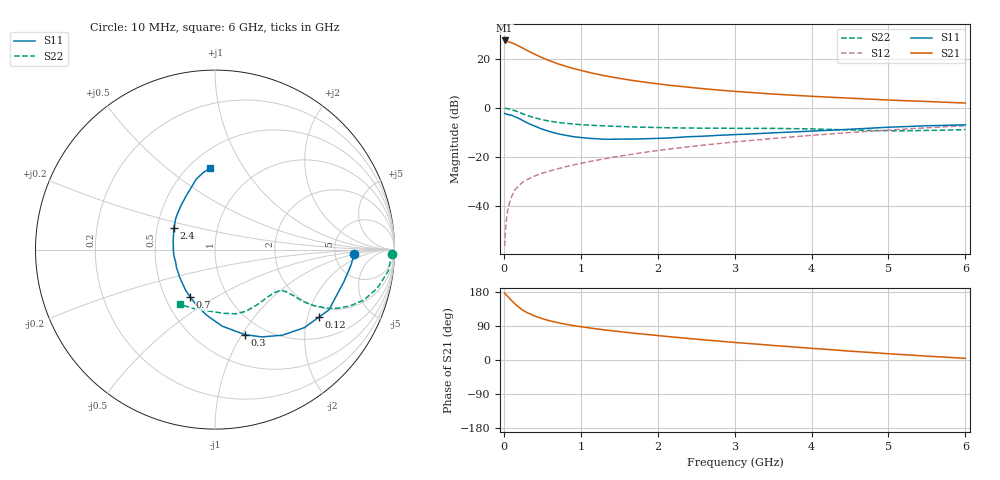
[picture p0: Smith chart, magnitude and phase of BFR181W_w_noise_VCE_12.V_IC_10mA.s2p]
! Infineon Technologies  Discrete & RF Semiconductors
! BFR181W
! VCE =  12. V,  IC =  10 mA
! Common Emitter S-Parameters:  Jan 2017
# GHz  S  MA  R  50
!  f  S11  S21  S12  S22
! GHz  MAG  ANG  MAG  ANG  MAG  ANG  MAG  ANG
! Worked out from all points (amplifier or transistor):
!   77 points, 10 MHz to 6 GHz, reference 50 ohm
!   highest |S21| = 27.6 dB at 10 MHz (marker M1)
!   |S21| within 3 dB of that: start of sweep to 238.4 MHz
!   unconditionally stable (mu >= 1): 1.121 GHz to 3.051 GHz
!   at 130 MHz: K = 0.27, MSG = 30.3 dB, |S12| = -34.3 dB
!   at 2.2 GHz: K = 1.05, MAG = 11.5 dB, |S12| = -16.6 dB
!   at 6 GHz: K = 0.86, MSG = 4.6 dB, |S12| = -7.2 dB
!   lowest NFmin = 1.24 dB at 450 MHz
!   S11 on the Smith chart (normalised r, x): 10 MHz: 7.87, -0.92; 120 MHz: 1.64, -2.36; 300 MHz: 0.81, -1.03; 700 MHz: 0.67, -0.39; 2.4 GHz: 0.61, +0.16; 6 GHz: 0.63, +0.72
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0.01  0.7773 -1.7  24.08 176.7  0.0015 66.3  0.9882 -1.3
0.02  0.7617 -6.8  23.56 174.0  0.0029 81.0  0.9817 -2.5
0.04  0.7458 -11.6  23.13 170.0  0.0063 76.9  0.975 -5.6
0.1  0.7178 -28.0  21.68 156.8  0.0153 74.5  0.9286 -13.5
0.12  0.6908 -33.0  20.98 153.1  0.0179 72.9  0.906 -15.5
0.15  0.661 -41.1  20.11 147.1  0.0218 71.2  0.8745 -18.8
0.2  0.6074 -51.7  18.32 138.4  0.0262 67.7  0.8144 -22.7
0.25  0.5526 -61.7  16.68 131.2  0.0309 64.4  0.759 -25.5
0.3  0.5027 -70.5  15.1 125.2  0.0343 63.0  0.7082 -27.5
0.4  0.4287 -84.6  12.6 115.9  0.0407 62.0  0.631 -29.6
0.5  0.3695 -97.0  10.65 109.0  0.0466 62.0  0.5756 -30.4
0.6  0.3294 -107.6  9.206 103.3  0.052 61.3  0.5374 -30.5
0.7  0.2989 -117.4  8.066 98.7  0.0571 62.6  0.5085 -30.4
0.9  0.2601 -134.6  6.457 91.0  0.0685 63.9  0.4715 -30.6
1.1  0.2409 -149.0  5.391 85.1  0.0798 65.3  0.4482 -31.0
1.5  0.2315 -172.9  4.05 75.0  0.1033 66.6  0.4201 -33.5
2.1  0.2431 162.3  2.995 62.6  0.1417 66.0  0.3968 -40.9
2.4  0.2593 152.7  2.663 56.8  0.1614 65.1  0.3904 -45.7
3.1  0.2905 135.6  2.139 44.9  0.2096 62.1  0.3843 -57.2
4.1  0.3436 117.1  1.709 29.4  0.2839 55.9  0.371 -74.3
5.1  0.4108 103.7  1.438 15.3  0.3622 48.1  0.3434 -98.4
6  0.4536 93.3  1.266 4.3  0.4352 40.0  0.3627 -122.7
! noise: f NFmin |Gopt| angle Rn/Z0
0.45  1.24  0.15  16  0.21
0.9  1.29  0.14  31  0.21
1.9  1.71  0.03  142  0.2
2.4  1.88  0.02  -166  0.24
